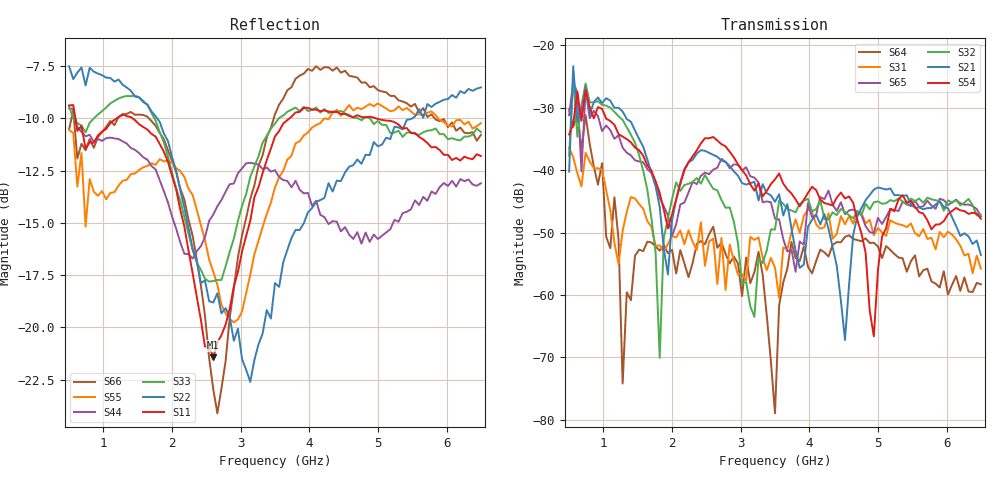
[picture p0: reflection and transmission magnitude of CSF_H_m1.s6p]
!Keysight Technologies,M9804A,MY58100912,A.14.10.03
!Date: Thursday, April 27, 2023 10:28:33
!Correction: S11(C  6-Port  )
!S12(C  6-Port  )
!S13(C  6-Port  )
!S14(C  6-Port  )
!S15(C  6-Port  )
!S16(C  6-Port  )
!S21(C  6-Port  )
!S22(C  6-Port  )
!S23(C  6-Port  )
!S24(C  6-Port  )
!S25(C  6-Port  )
!S26(C  6-Port  )
!S31(C  6-Port  )
!S32(C  6-Port  )
!S33(C  6-Port  )
!S34(C  6-Port  )
!S35(C  6-Port  )
!S36(C  6-Port  )
!S41(C  6-Port  )
!S42(C  6-Port  )
!S43(C  6-Port  )
!S44(C  6-Port  )
!S45(C  6-Port  )
!S46(C  6-Port  )
!S51(C  6-Port  )
!S52(C  6-Port  )
!S53(C  6-Port  )
!S54(C  6-Port  )
!S55(C  6-Port  )
!S56(C  6-Port  )
!S61(C  6-Port  )
!S62(C  6-Port  )
!S63(C  6-Port  )
!S64(C  6-Port  )
!S65(C  6-Port  )
!S66(C  6-Port  )
!S6P File: Measurement: :
# Hz S  RI  R 50
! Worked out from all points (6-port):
!   101 points, 500 MHz to 6.5 GHz, reference 50 ohm
!   strongest paths, dB at 500 MHz, 2 GHz, 3.5 GHz, 5 GHz, 6.5 GHz:
!     S54: -34.3, -47.1, -41.5, -56.0, -47.8
!     S21: -40.2, -48.1, -45.1, -42.8, -53.6
!     S32: -37.7, -44.6, -49.5, -45.0, -47.1
!     S65: -31.2, -50.5, -47.8, -47.6, -47.4
!     S31: -36.4, -50.6, -55.6, -49.3, -55.8
!     S64: -30.2, -52.8, -78.9, -52.2, -58.3
!   lowest |S11| = -21.4 dB at 2.6 GHz (marker M1), VSWR 1.19, Z = 42.5 + j2.18 ohm
!   |S11| at or under -10 dB: 591.3 MHz to 1.19 GHz (598.7 MHz wide, 67.2 % of centre); 1.427 GHz to 3.71 GHz (2.283 GHz wide, 88.9 % of centre); 4.977 GHz to end of sweep
